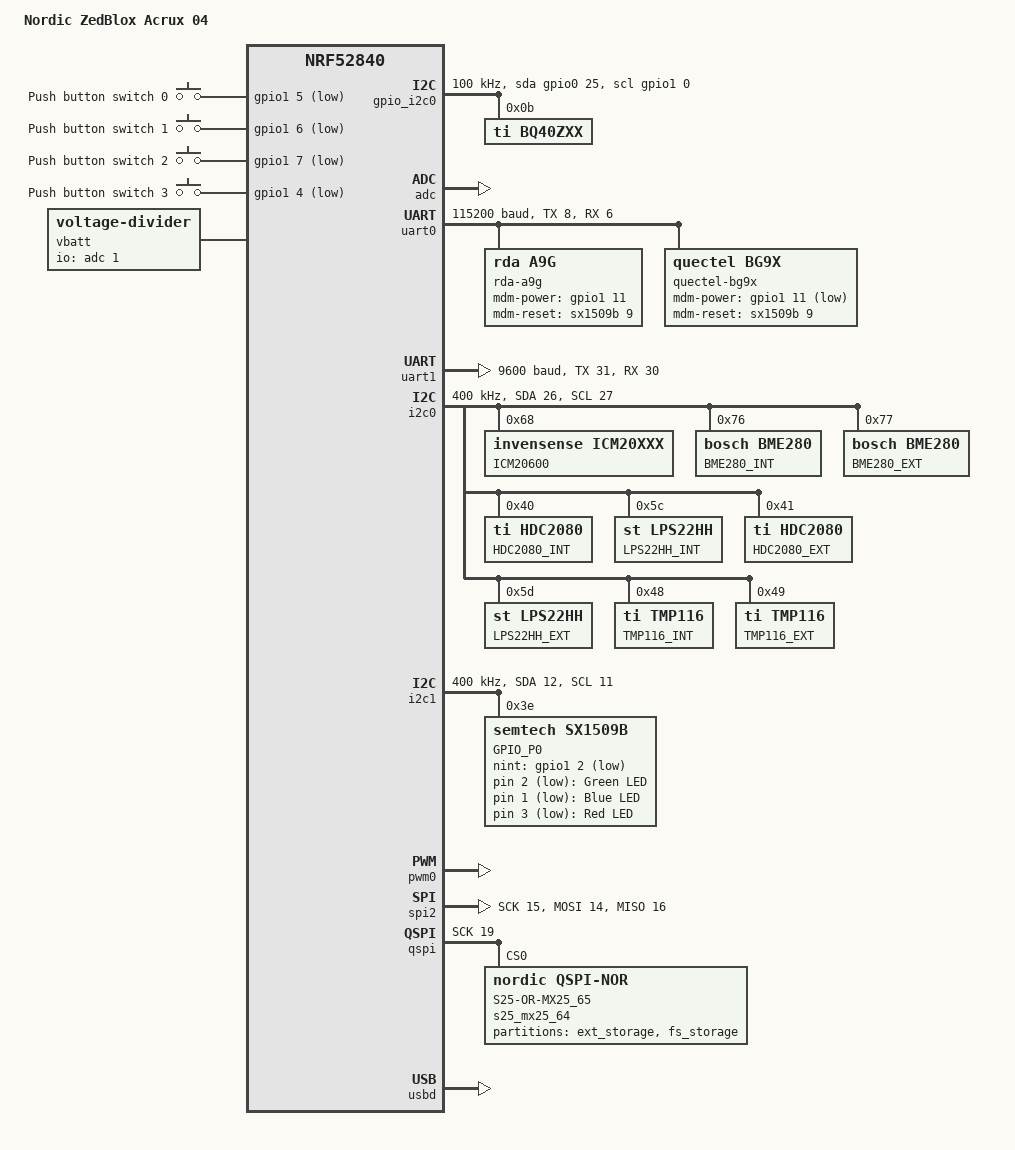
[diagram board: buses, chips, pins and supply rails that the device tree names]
/dts-v1/;
#include <nordic/nrf52840_qiaa.dtsi>

/ {
	model = "Nordic ZedBlox Acrux 04";
	compatible = "nordic,zbacrux-04";

	chosen {
		zephyr,console = &uart0;
		zephyr,shell-uart = &uart0;
		zephyr,uart-mcumgr = &uart0;
		zephyr,bt-mon-uart = &uart0;
		zephyr,bt-c2h-uart = &uart0;
		zephyr,sram = &sram0;
		zephyr,flash = &flash0;
		zephyr,code-partition = &slot0_partition;
	};

	/* These aliases are provided for compatibility with samples */
	aliases {
		led0 = &led0;
		led1 = &led1;
		led2 = &led2;
		sw0 = &button0;
		sw1 = &button1;
		sw2 = &button2;
		sw3 = &button3;
	};

	leds {
		compatible = "gpio-leds";
		/* Lightwell RGB */
		led0: led_0 {
			gpios = <&sx1509b 2 GPIO_ACTIVE_LOW>;
			label = "Green LED";
		};
		led1: led_1 {
			gpios = <&sx1509b 1 GPIO_ACTIVE_LOW>;
			label = "Blue LED";
		};
		led2: led_2 {
			gpios = <&sx1509b 3 GPIO_ACTIVE_LOW>;
			label = "Red LED";
		};
	};

	buttons {
		compatible = "gpio-keys";
		button0: button_0 {
			gpios = <&gpio1 5 (GPIO_ACTIVE_LOW | GPIO_PULL_UP)>;
			label = "Push button switch 0";
		};
		button1: button_1 {
			gpios = <&gpio1 6 (GPIO_ACTIVE_LOW | GPIO_PULL_UP)>;
			label = "Push button switch 1";
		};
		button2: button_2 {
			gpios = <&gpio1 7 (GPIO_ACTIVE_LOW | GPIO_PULL_UP)>;
			label = "Push button switch 2";
		};
		button3: button_3 {
			gpios = <&gpio1 4 (GPIO_ACTIVE_LOW | GPIO_PULL_UP)>;
			label = "Push button switch 3";
		};
	};

	vbatt {
		compatible = "voltage-divider";
		io-channels = <&adc 1>;
		output-ohms = <10760>;
		full-ohms = <(10760 + 97600)>;
        //power-gpios = <&sx1509b 8 GPIO_ACTIVE_HIGH>;
	};

    gpio_i2c0: gpio_i2c {
        compatible = "gpio-i2c";
        status = "okay";
        clock-frequency = <I2C_BITRATE_STANDARD>;
        sda-gpios = <&gpio0 25 (GPIO_OPEN_DRAIN)>;
        scl-gpios = <&gpio1 0 (GPIO_OPEN_DRAIN)>;
        label = "GPIO_I2C_0";
        #address-cells = <1>;
        #size-cells = <0>;

        bq40zxx: bq40zxx@b {
            compatible = "ti,bq40zxx";
            reg = <0x0b>;
            label = "BQ40ZXX";
            design-voltage = <11100>;
            design-capacity = <16400>;
            taper-current = <130>;
            terminate-voltage = <9000>;
        };
    };
};

&adc {
	status = "okay";
};

&gpiote {
	status = "okay";
};

&gpio0 {
	status = "okay";
};

&gpio1 {
	status = "okay";
};

&uart0 {
	compatible = "nordic,nrf-uarte";
	status = "okay";
	current-speed = <115200>;
	tx-pin = <8>;
	rx-pin = <6>;
	//rts-pin = <4>;
	//cts-pin = <7>;

    a9grda {
        compatible = "rda,a9g";
	    label = "rda-a9g";
		mdm-power-gpios = <&gpio1 11 0>;
		//mdm-reset-gpios = <&sx1509b 8 0>;
		mdm-reset-gpios = <&sx1509b 9 0>;
    };
    quectel-bg9x {
        compatible = "quectel,bg9x";
	    label = "quectel-bg9x";
		mdm-power-gpios = <&gpio1 11 GPIO_ACTIVE_LOW>;
		mdm-reset-gpios = <&sx1509b 9 0>;
    };
};

&uart1 {
    compatible = "nordic,nrf-uarte";
    status = "okay";
	current-speed = <9600>;
	tx-pin = <31>;
	rx-pin = <30>;
};

&i2c0 {
    compatible = "nordic,nrf-twim";
	status = "okay";
	clock-frequency = <I2C_BITRATE_FAST>;
	sda-pin = <26>;
	scl-pin = <27>;

    icm20600: icm20600@68 {
        compatible = "invensense,icm20xxx";
        reg = <0x68>;
        label = "ICM20600";
    };

    bme280_int: bme280@76 {
        compatible = "bosch,bme280";
        reg = <0x76>;
        label = "BME280_INT";
    };

    bme280_ext: bme280@77 {
        compatible = "bosch,bme280";
        reg = <0x77>;
        label = "BME280_EXT";
    };

    hdc2080_int: hdc2080@40 {
        compatible = "ti,hdc2080";
        reg = <0x40>;
        label = "HDC2080_INT";
    };

    lps22hh_int: lps22hh@5c {
		compatible = "st,lps22hh";
		reg = <0x5c>;
		label = "LPS22HH_INT";
		//drdy-gpios = <&gpiod 15 GPIO_ACTIVE_HIGH>;
	};

    hdc2080_ext: hdc2080@41 {
        compatible = "ti,hdc2080";
        reg = <0x41>;
        label = "HDC2080_EXT";
    };
 
    lps22hh_ext: lps22hh@5d {
		compatible = "st,lps22hh";
		reg = <0x5d>;
		label = "LPS22HH_EXT";
		//drdy-gpios = <&gpiod 15 GPIO_ACTIVE_HIGH>;
	};

    ti_tmp116_int: ti_tmp116@48 {
		compatible = "ti,tmp116";
		reg = <0x48>;
		label = "TMP116_INT";
	};

    ti_tmp116_ext: ti_tmp116@49 {
		compatible = "ti,tmp116";
		reg = <0x49>;
		label = "TMP116_EXT";
	};
};

&i2c1 {
    compatible = "nordic,nrf-twim";
	status = "okay";
	clock-frequency = <I2C_BITRATE_FAST>;
	sda-pin = <12>;
	scl-pin = <11>;

	sx1509b: sx1509b@3e {
		compatible = "semtech,sx1509b";
		reg = <0x3e>;
		label = "GPIO_P0";
		gpio-controller;
		nint-gpios = <&gpio1 2 (GPIO_PULL_UP | GPIO_ACTIVE_LOW)>;
		#gpio-cells = <2>;
		ngpios = <16>;
	};
};

&pwm0 {
	status = "okay";
	//ch0-pin = <24>;
    //ch1-pin = <28>;
    ch2-pin = <46>;
};

&spi2 {
    compatible = "nordic,nrf-spim";
	status = "okay";
	sck-pin = <15>;
	mosi-pin = <14>;
	miso-pin = <16>;
    miso-pull-up;
	cs-gpios = <&gpio0 13 0>;
};

/*
&spi3 {
    compatible = "nordic,nrf-spim";
	status = "okay";
	sck-pin = <18>;
	mosi-pin = <41>;
	miso-pin = <40>;
	cs-gpios = <&gpio1 1 0>;
};
*/

&qspi {
	status = "okay";
	sck-pin = <19>;
	io-pins = <20>, <23>, <22>, <21>;
	csn-pins = <17>;

	s25_mx25: s25_mx25_64@0 {
		compatible = "nordic,qspi-nor";
		reg = <0>;
		writeoc = "pp4io";
		readoc = "read4io";
		sck-frequency = <8000000>;
		label = "S25-OR-MX25_65";
		//jedec-id = [01 60 17];
		jedec-id = [C2 28 17];
		size = <67108864>;
		//has-be32k;
		//has-dpd;
		t-enter-dpd = <10000>;
		t-exit-dpd = <35000>;
	};
};

&flash0 {
	/*
	 * For more information, see:
	 * http://docs.zephyrproject.org/latest/guides/dts/index.html#flash-partitions
	 */
	partitions {
		compatible = "fixed-partitions";
		#address-cells = <1>;
		#size-cells = <1>;

		boot_partition: partition@0 {
			label = "mcuboot";
			reg = <0x000000000 0x000010000>;
		};
		slot0_partition: partition@10000 {
			label = "image-0";
			reg = <0x000010000 0x00006c000>;
		};
		slot1_partition: partition@7c000 {
			label = "image-1";
			reg = <0x0007c000 0x00006c000>;
		};
        scratch_partition: partition@e8000 {
			label = "image-scratch";
			reg = <0x000e8000 0x00010000>;
		};

		/*
		 * The flash starting at 0x000f8000 and ending at
		 * 0x000fffff is reserved for use by the application.
		 */

        /* Storage partition will be used by nvs settings */
		settings_partition: partition@f8000 {
			label = "settings_store";
			reg = <0x000f8000 0x00008000>;
		};
	};
};

&s25_mx25 {
	/*
	 * For more information, see:
	 * http://docs.zephyrproject.org/latest/guides/dts/index.html#flash-partitions
	 */
	partitions {
		compatible = "fixed-partitions";
		#address-cells = <1>;
		#size-cells = <1>;

		/* Storage partition will be used by FCB if enabled. */
		ext_storage_partition: partition@0 {
			label = "ext_storage";
			reg = <0x00000000 0x00400000>;
		};

		/* Storage partition will be used by filesystem if enabled. */
		fs_partition: partition@400000 {
			label = "fs_storage";
			reg = <0x00400000 0x00400000>;
		};
	};
};

&usbd {
	compatible = "nordic,nrf-usbd";
	status = "okay";
};
